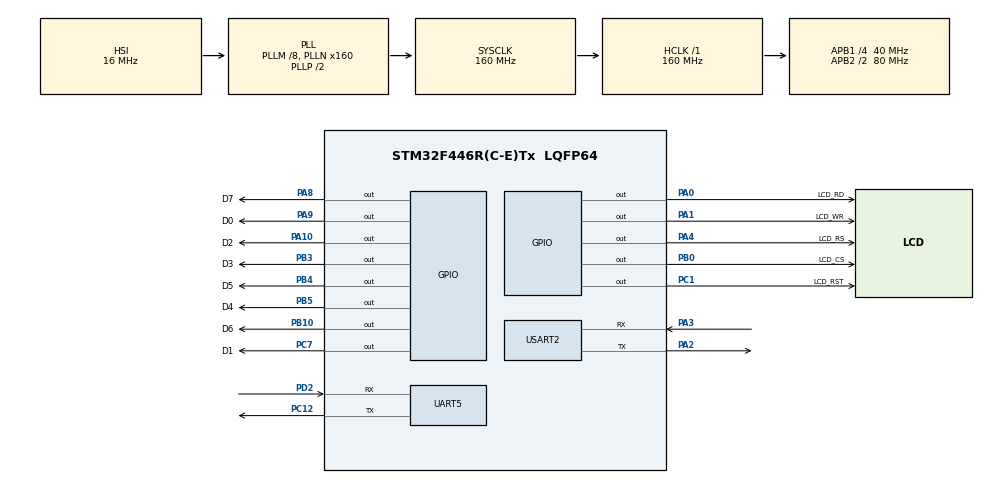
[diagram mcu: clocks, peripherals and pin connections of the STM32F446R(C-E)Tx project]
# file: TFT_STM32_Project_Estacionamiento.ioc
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Mcu.Family=STM32F4
Mcu.Name=STM32F446R(C-E)Tx
Mcu.Package=LQFP64
NVIC.PriorityGroup=NVIC_PRIORITYGROUP_4
NVIC.UART5_IRQn=true\:0\:0\:false\:false\:true\:true\:true\:true
PA0-WKUP.GPIO_Label=LCD_RD
PA0-WKUP.Signal=GPIO_Output
PA1.GPIO_Label=LCD_WR
PA1.Signal=GPIO_Output
PA10.GPIO_Label=D2
PA10.Signal=GPIO_Output
PA13.GPIO_Label=TMS
PA13.Mode=Serial_Wire
PA13.Signal=SYS_JTMS-SWDIO
PA14.GPIO_Label=TCK
PA14.Mode=Serial_Wire
PA14.Signal=SYS_JTCK-SWCLK
PA2.Mode=Asynchronous
PA2.Signal=USART2_TX
PA3.Mode=Asynchronous
PA3.Signal=USART2_RX
PA4.GPIO_Label=LCD_RS
PA4.Signal=GPIO_Output
PA8.GPIO_Label=D7
PA8.Signal=GPIO_Output
PA9.GPIO_Label=D0
PA9.Signal=GPIO_Output
PB0.GPIO_Label=LCD_CS
PB0.Signal=GPIO_Output
PB10.GPIO_Label=D6
PB10.Signal=GPIO_Output
PB3.GPIO_Label=D3
PB3.Signal=GPIO_Output
PB4.GPIO_Label=D5
PB4.Signal=GPIO_Output
PB5.GPIO_Label=D4
PB5.Signal=GPIO_Output
PC1.GPIO_Label=LCD_RST
PC1.Signal=GPIO_Output
PC12.Mode=Asynchronous
PC12.Signal=UART5_TX
PC7.GPIO_Label=D1
PC7.Signal=GPIO_Output
PD2.Mode=Asynchronous
PD2.Signal=UART5_RX
PH0-OSC_IN.Mode=HSE-External-Oscillator
PH0-OSC_IN.Signal=RCC_OSC_IN
PH1-OSC_OUT.Mode=HSE-External-Oscillator
PH1-OSC_OUT.Signal=RCC_OSC_OUT
ProjectManager.HeapSize=0x200
ProjectManager.StackSize=0x400
ProjectManager.TargetToolchain=STM32CubeIDE
RCC.AHBFreq_Value=160000000
RCC.APB1CLKDivider=RCC_HCLK_DIV4
RCC.APB1Freq_Value=40000000
RCC.APB1TimFreq_Value=80000000
RCC.APB2CLKDivider=RCC_HCLK_DIV2
RCC.APB2Freq_Value=80000000
RCC.APB2TimFreq_Value=160000000
RCC.CortexFreq_Value=160000000
RCC.HCLKFreq_Value=160000000
RCC.HSE_VALUE=8000000
RCC.PLLM=8
RCC.PLLN=160
RCC.SYSCLKFreq_VALUE=160000000
RCC.SYSCLKSource=RCC_SYSCLKSOURCE_PLLCLK
RCC.USBFreq_Value=160000000
RCC.VCOOutputFreq_Value=320000000
TIM1.Prescaler=72-1
UART5.VirtualMode=Asynchronous
USART2.VirtualMode=VM_ASYNC
VP_TIM1_VS_ClockSourceINT.Mode=Internal
board=custom

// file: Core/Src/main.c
/* USER CODE BEGIN Header */
/**
   ******************************************************************************
 Universidad Del Valle De Guatemala
 IE2023: Electrónica digital 2
 Autor: Samuel Tortola - 22094, Alan Gomez - 22115
 Proyecto: Proyecto servidor WEB
 Hardware: STM32
 Creado: 31/10/2024
Última modificación: 11/11/2024
******************************************************************************
  */
//CODIGO DEL SMT32 ESCLAVO

/* USER CODE END Header */
#include "main.h"

/* USER CODE BEGIN Includes */
#include "fonts.h"
#include "tft.h"// Libreria TFT
#include "functions.h"
#include "user_setting.h"
#include "bitmaps.h"
#include "stm32f4xx_hal.h"
#include "stdlib.h"
#include <stdbool.h>

#include "bitmaps.h" // Arreglos para imprimir en tft
/* USER CODE END Includes */

TIM_HandleTypeDef htim1;

UART_HandleTypeDef huart5;
UART_HandleTypeDef huart2;

/* USER CODE BEGIN PV */
uint16_t ID=0; // Variable de libreria de la TFT

uint8_t Number_Display = 8; // Contador de display
uint8_t Recived_Car = 0;

const uint16_t* carArrays[] = { CAR_M, CAR_A, CAR_N, CAR_R};// Seleccion de carro
const uint16_t* carArrays_Dis[] = { DIS_0, DIS_1, DIS_2, DIS_3, DIS_4, DIS_5, DIS_6, DIS_7, DIS_8};// Numeros para display
bool C1 = false, C2 = false, C3 = false, C4 = false, C5 = false, C6 = false, C7 = false, C8 = false;// Banderas de Carros
const uint16_t* selectedArray; // Carro seleccionado
const uint16_t* selectedArray_DIS;// Numero para display
volatile int KLE; // Posicion de Array para carros
volatile int KLA;// Posiion de Array para display

uint8_t rx_data[1]; // Solo para recibir byte por byte
uint8_t rx_buffer[100]; // Buffer para almacenar lo recibido por UART5
uint8_t RX_Buffer [8] ;

/* USER CODE END PV */

void SystemClock_Config(void);
static void MX_GPIO_Init(void);
static void MX_TIM1_Init(void);
static void MX_UART5_Init(void);
static void MX_USART2_UART_Init(void);
/* USER CODE BEGIN PFP */
void delay (uint32_t time)
{
	/* change your code here for the delay in microseconds */
	__HAL_TIM_SET_COUNTER(&htim1, 0);
	while ((__HAL_TIM_GET_COUNTER(&htim1))<time);
}

int State_Dis(int KLA);// Funcion para Display en pantalla TFT
int State_Cars(int S); // Funcion para estado de carros en pantalla TFT
/* USER CODE END PFP */

int main(void)
{

  /* MCU Configuration--------------------------------------------------------*/

  /* Reset of all peripherals, Initializes the Flash interface and the Systick. */
  HAL_Init();

  /* Configure the system clock */
  SystemClock_Config();

  /* Initialize all configured peripherals */
  MX_GPIO_Init();
  MX_TIM1_Init();
  MX_UART5_Init();
  MX_USART2_UART_Init();
  /* USER CODE BEGIN 2 */
	HAL_TIM_Base_Start(&htim1);
	ID=readID();
	HAL_Delay(100);
	tft_init(ID);
	setRotation(1);
	fillScreen(BLACK);

	  HAL_UART_Receive_IT(&huart5,rx_data, 1);  // Empezar la recepción por UART1 en modo interrupción
	drawRGBBitmapFast(0,0,Terminal,320,240);

  /* USER CODE END 2 */

  /* Infinite loop */
  /* USER CODE BEGIN WHILE */
  while (1)
  {

	  HAL_Delay(10); // Esperar 10ms

    /* USER CODE END WHILE */

  }
}

void SystemClock_Config(void)
{
  RCC_OscInitTypeDef RCC_OscInitStruct = {0};
  RCC_ClkInitTypeDef RCC_ClkInitStruct = {0};

  /** Configure the main internal regulator output voltage
  */
  __HAL_RCC_PWR_CLK_ENABLE();
  __HAL_PWR_VOLTAGESCALING_CONFIG(PWR_REGULATOR_VOLTAGE_SCALE1);

  /** Initializes the RCC Oscillators according to the specified parameters
  * in the RCC_OscInitTypeDef structure.
  */
  RCC_OscInitStruct.OscillatorType = RCC_OSCILLATORTYPE_HSI;
  RCC_OscInitStruct.HSIState = RCC_HSI_ON;
  RCC_OscInitStruct.HSICalibrationValue = RCC_HSICALIBRATION_DEFAULT;
  RCC_OscInitStruct.PLL.PLLState = RCC_PLL_ON;
  RCC_OscInitStruct.PLL.PLLSource = RCC_PLLSOURCE_HSI;
  RCC_OscInitStruct.PLL.PLLM = 8;
  RCC_OscInitStruct.PLL.PLLN = 160;
  RCC_OscInitStruct.PLL.PLLP = RCC_PLLP_DIV2;
  RCC_OscInitStruct.PLL.PLLQ = 2;
  RCC_OscInitStruct.PLL.PLLR = 2;
  if (HAL_RCC_OscConfig(&RCC_OscInitStruct) != HAL_OK)
  {
    Error_Handler();
  }

  /** Initializes the CPU, AHB and APB buses clocks
  */
  RCC_ClkInitStruct.ClockType = RCC_CLOCKTYPE_HCLK|RCC_CLOCKTYPE_SYSCLK
                              |RCC_CLOCKTYPE_PCLK1|RCC_CLOCKTYPE_PCLK2;
  RCC_ClkInitStruct.SYSCLKSource = RCC_SYSCLKSOURCE_PLLCLK;
  RCC_ClkInitStruct.AHBCLKDivider = RCC_SYSCLK_DIV1;
  RCC_ClkInitStruct.APB1CLKDivider = RCC_HCLK_DIV4;
  RCC_ClkInitStruct.APB2CLKDivider = RCC_HCLK_DIV2;

  if (HAL_RCC_ClockConfig(&RCC_ClkInitStruct, FLASH_LATENCY_5) != HAL_OK)
  {
    Error_Handler();
  }
}

static void MX_TIM1_Init(void)
{

  TIM_ClockConfigTypeDef sClockSourceConfig = {0};
  TIM_MasterConfigTypeDef sMasterConfig = {0};

  htim1.Instance = TIM1;
  htim1.Init.Prescaler = 72-1;
  htim1.Init.CounterMode = TIM_COUNTERMODE_UP;
  htim1.Init.Period = 65535;
  htim1.Init.ClockDivision = TIM_CLOCKDIVISION_DIV1;
  htim1.Init.RepetitionCounter = 0;
  htim1.Init.AutoReloadPreload = TIM_AUTORELOAD_PRELOAD_DISABLE;
  if (HAL_TIM_Base_Init(&htim1) != HAL_OK)
  {
    Error_Handler();
  }
  sClockSourceConfig.ClockSource = TIM_CLOCKSOURCE_INTERNAL;
  if (HAL_TIM_ConfigClockSource(&htim1, &sClockSourceConfig) != HAL_OK)
  {
    Error_Handler();
  }
  sMasterConfig.MasterOutputTrigger = TIM_TRGO_RESET;
  sMasterConfig.MasterSlaveMode = TIM_MASTERSLAVEMODE_DISABLE;
  if (HAL_TIMEx_MasterConfigSynchronization(&htim1, &sMasterConfig) != HAL_OK)
  {
    Error_Handler();
  }

}

static void MX_UART5_Init(void)
{

  huart5.Instance = UART5;
  huart5.Init.BaudRate = 115200;
  huart5.Init.WordLength = UART_WORDLENGTH_8B;
  huart5.Init.StopBits = UART_STOPBITS_1;
  huart5.Init.Parity = UART_PARITY_NONE;
  huart5.Init.Mode = UART_MODE_TX_RX;
  huart5.Init.HwFlowCtl = UART_HWCONTROL_NONE;
  huart5.Init.OverSampling = UART_OVERSAMPLING_16;
  if (HAL_UART_Init(&huart5) != HAL_OK)
  {
    Error_Handler();
  }

}

static void MX_USART2_UART_Init(void)
{

  huart2.Instance = USART2;
  huart2.Init.BaudRate = 115200;
  huart2.Init.WordLength = UART_WORDLENGTH_8B;
  huart2.Init.StopBits = UART_STOPBITS_1;
  huart2.Init.Parity = UART_PARITY_NONE;
  huart2.Init.Mode = UART_MODE_TX_RX;
  huart2.Init.HwFlowCtl = UART_HWCONTROL_NONE;
  huart2.Init.OverSampling = UART_OVERSAMPLING_16;
  if (HAL_UART_Init(&huart2) != HAL_OK)
  {
    Error_Handler();
  }

}

static void MX_GPIO_Init(void)
{
  GPIO_InitTypeDef GPIO_InitStruct = {0};

  /* GPIO Ports Clock Enable */
  __HAL_RCC_GPIOH_CLK_ENABLE();
  __HAL_RCC_GPIOC_CLK_ENABLE();
  __HAL_RCC_GPIOA_CLK_ENABLE();
  __HAL_RCC_GPIOB_CLK_ENABLE();
  __HAL_RCC_GPIOD_CLK_ENABLE();

  /*Configure GPIO pin Output Level */
  HAL_GPIO_WritePin(GPIOC, LCD_RST_Pin|D1_Pin, GPIO_PIN_RESET);

  /*Configure GPIO pin Output Level */
  HAL_GPIO_WritePin(GPIOA, LCD_RD_Pin|LCD_WR_Pin|LCD_RS_Pin|D7_Pin
                          |D0_Pin|D2_Pin, GPIO_PIN_RESET);

  /*Configure GPIO pin Output Level */
  HAL_GPIO_WritePin(GPIOB, LCD_CS_Pin|D6_Pin|D3_Pin|D5_Pin
                          |D4_Pin, GPIO_PIN_RESET);

  /*Configure GPIO pins : LCD_RST_Pin D1_Pin */
  GPIO_InitStruct.Pin = LCD_RST_Pin|D1_Pin;
  GPIO_InitStruct.Mode = GPIO_MODE_OUTPUT_PP;
  GPIO_InitStruct.Pull = GPIO_NOPULL;
  GPIO_InitStruct.Speed = GPIO_SPEED_FREQ_LOW;
  HAL_GPIO_Init(GPIOC, &GPIO_InitStruct);

  /*Configure GPIO pins : LCD_RD_Pin LCD_WR_Pin LCD_RS_Pin D7_Pin
                           D0_Pin D2_Pin */
  GPIO_InitStruct.Pin = LCD_RD_Pin|LCD_WR_Pin|LCD_RS_Pin|D7_Pin
                          |D0_Pin|D2_Pin;
  GPIO_InitStruct.Mode = GPIO_MODE_OUTPUT_PP;
  GPIO_InitStruct.Pull = GPIO_NOPULL;
  GPIO_InitStruct.Speed = GPIO_SPEED_FREQ_LOW;
  HAL_GPIO_Init(GPIOA, &GPIO_InitStruct);

  /*Configure GPIO pins : LCD_CS_Pin D6_Pin D3_Pin D5_Pin
                           D4_Pin */
  GPIO_InitStruct.Pin = LCD_CS_Pin|D6_Pin|D3_Pin|D5_Pin
                          |D4_Pin;
  GPIO_InitStruct.Mode = GPIO_MODE_OUTPUT_PP;
  GPIO_InitStruct.Pull = GPIO_NOPULL;
  GPIO_InitStruct.Speed = GPIO_SPEED_FREQ_LOW;
  HAL_GPIO_Init(GPIOB, &GPIO_InitStruct);

}

/* USER CODE BEGIN 4 */
int State_Dis(int KLA) {
    selectedArray_DIS = carArrays_Dis[KLA];
    drawRGBBitmapFast(254, 81, selectedArray_DIS, 48, 80);

    return 0; // Retorna un valor (por ejemplo, 0 para indicar éxito)
}

int State_Cars(int S){
switch (S) {
		case 1:
			 C1 = !C1;

			 if(C1 == 1){
				 KLE = (KLE < 3) ? (KLE + 1) : 0;
				selectedArray = carArrays[KLE]; // Selecciona el arreglo
				// Llama a la función con el arreglo seleccionado
				drawRGBBitmapFast(14, 15, selectedArray,30, 50);
				drawRGBBitmapFast(12,95,mySem_RED,33,13);
				Number_Display = Number_Display - 1;
				State_Dis(Number_Display);// imprimir en display

			 }

			 else if(C1 == 0){
				 drawRGBBitmapFast(14, 15, CAR_NAC, 30, 50);
				 drawRGBBitmapFast(12,95,mySem_RED,33,13);
				 Number_Display = Number_Display + 1;
				 State_Dis(Number_Display);// imprimir en display

			 }
			break;
		case 2:
			 C2 = !C2;

			 if(C2 == 1){
				 KLE = (KLE < 3) ? (KLE + 1) : 0;
				selectedArray = carArrays[KLE]; // Selecciona el arreglo
				// Llama a la función con el arreglo seleccionado
				drawRGBBitmapFast(73, 15, selectedArray, 30, 50);
				drawRGBBitmapFast(71,95,mySem_GREEN,33,13);
				Number_Display = Number_Display - 1;
				State_Dis(Number_Display);// imprimir en display
			 }

			 else if(C2 == 0){
				 drawRGBBitmapFast(73, 15, CAR_NAC, 30, 50);
				 drawRGBBitmapFast(71,95,mySem_RED,33,13);
				 Number_Display = Number_Display + 1;
				 State_Dis(Number_Display);// imprimir en display

			 }
			break;
		case 3:
			 C3 = !C3;

			 if(C3 == 1){
				 KLE = (KLE == 0) ? (KLE - 1) : 3;
				selectedArray = carArrays[KLE]; // Selecciona el arreglo
				// Llama a la función con el arreglo seleccionado
				drawRGBBitmapFast(132, 15, selectedArray, 30, 50);
				drawRGBBitmapFast(130,95,mySem_GREEN,33,13);
				Number_Display = Number_Display - 1;
				State_Dis(Number_Display);// imprimir en display
			 }

			 else if(C3 == 0){
				 drawRGBBitmapFast(132, 15, CAR_NAC, 30, 50);
				 drawRGBBitmapFast(130,95,mySem_RED,33,13);
				 Number_Display = Number_Display + 1;
				 State_Dis(Number_Display);// imprimir en display
			 }
			break;
		case 4:
			 C4 = !C4;

			 if(C4 == 1){
				 KLE = (KLE < 3) ? (KLE + 1) : 0;
				selectedArray = carArrays[KLE]; // Selecciona el arreglo
				// Llama a la función con el arreglo seleccionado
				drawRGBBitmapFast(191, 15, selectedArray, 30, 50);
				drawRGBBitmapFast(189, 95,mySem_GREEN,33,13);
				Number_Display = Number_Display - 1;
				State_Dis(Number_Display);// imprimir en display
			 }

			 else if(C4 == 0){
				 drawRGBBitmapFast(191, 15, CAR_NAC, 30, 50);
				 drawRGBBitmapFast(189,95,mySem_RED,33,13);
				 Number_Display = Number_Display + 1;
				 State_Dis(Number_Display);// imprimir en display
			 }
			break;

		case 8:
			 C5 = !C5;

			 if(C5 == 1){
				 KLE = (KLE < 3) ? (KLE + 1) : 0;
				selectedArray = carArrays[KLE]; // Selecciona el arreglo
				// Llama a la función con el arreglo seleccionado
				drawRGBBitmapFast(14, 176, selectedArray, 30, 50);
				drawRGBBitmapFast(12,134,mySem_GREEN,33,13);
				Number_Display = Number_Display - 1;
				State_Dis(Number_Display);// imprimir en display
			 }

			 else if(C5 == 0){
				 drawRGBBitmapFast(14, 176, CAR_NAC, 30, 50);
				 drawRGBBitmapFast(12,134,mySem_RED,33,13);
				 Number_Display = Number_Display + 1;
				 State_Dis(Number_Display);// imprimir en display
			 }
			 break;
		case 7:
			 C6 = !C6;

			 if(C6 == 1){
				 KLE = (KLE < 3) ? (KLE + 1) : 0;
				selectedArray = carArrays[KLE]; // Selecciona el arreglo
				// Llama a la función con el arreglo seleccionado
				drawRGBBitmapFast(73, 176, selectedArray, 30, 50);
				drawRGBBitmapFast(71,134,mySem_GREEN,33,13);
				Number_Display = Number_Display - 1;
				State_Dis(Number_Display);// imprimir en display
			 }

			 else if(C6 == 0){
				 drawRGBBitmapFast(73, 176, CAR_NAC, 30, 50);
				 drawRGBBitmapFast(71,134,mySem_RED,33,13);
				 Number_Display = Number_Display + 1;
				 State_Dis(Number_Display);// imprimir en display
			 }
			 break;
		case 6:
			 C7 = !C7;

			 if(C7 == 1){
				 KLE = (KLE < 3) ? (KLE + 1) : 0;
				selectedArray = carArrays[KLE]; // Selecciona el arreglo
				// Llama a la función con el arreglo seleccionado
				drawRGBBitmapFast(132, 176, selectedArray, 30, 50);
				drawRGBBitmapFast(130,134,mySem_GREEN,33,13);
				Number_Display = Number_Display - 1;
				State_Dis(Number_Display);// imprimir en display
			 }

			 else if(C7 == 0){
				 drawRGBBitmapFast(132, 176, CAR_NAC, 30, 50);
				 drawRGBBitmapFast(130,134,mySem_RED,33,13);
				 Number_Display = Number_Display + 1;
				 State_Dis(Number_Display);// imprimir en display
			 }
			 break;
		case 5:
			 C8 = !C8;

			 if(C8 == 1){
				// Llama a la función con el arreglo seleccionado
				drawRGBBitmapFast(191, 176, CAR_N, 30, 50);
				drawRGBBitmapFast(189, 134,mySem_GREEN,33,13);
				Number_Display = Number_Display - 1;
				State_Dis(Number_Display);// imprimir en display
			 }

			 else if(C8 == 0){
				 drawRGBBitmapFast(191, 176, CAR_NAC, 30, 50);
				 drawRGBBitmapFast(189,134,mySem_RED,33,13);
				 Number_Display = Number_Display + 1;
				 State_Dis(Number_Display);// imprimir en display
			 }
			 break;

		default:

			break;
	}

return 0;
}

void HAL_UART_RxCpltCallback(UART_HandleTypeDef *huart)
{
  if (huart->Instance == UART5) // Verificar si la interrupción es de UART1
  {
	  Recived_Car = rx_data[0] - '0';
	  State_Cars(Recived_Car);// Recivir numero de carro

	  // Volver a habilitar la recepción por UART5
	      HAL_UART_Receive_IT(&huart5, rx_data, 1);

  }
}

/* USER CODE END 4 */

void Error_Handler(void)
{
  __disable_irq();
  while (1)
  {
  }
}
